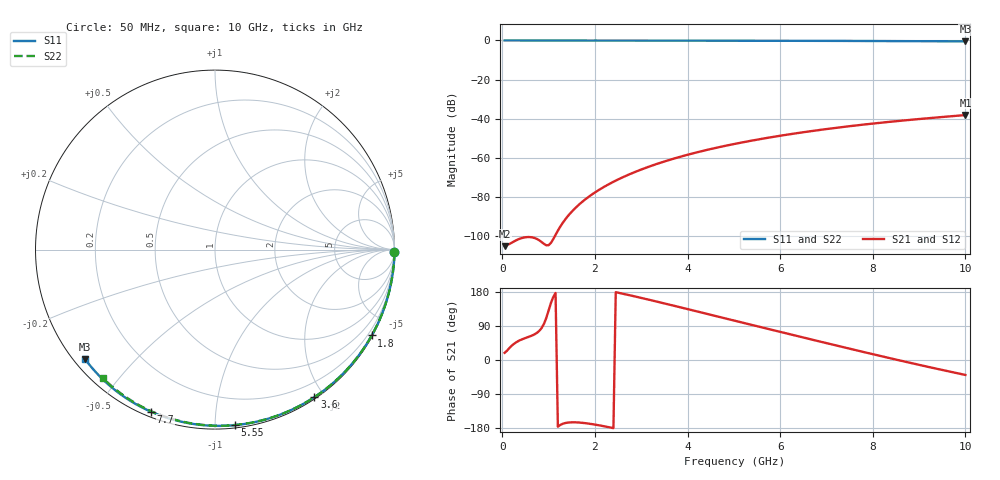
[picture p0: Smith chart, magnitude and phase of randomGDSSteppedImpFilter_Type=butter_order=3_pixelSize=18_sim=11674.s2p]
! freq	dB(S11)	phase(S11)	dB(S12)	phase(S12)
!  dB(S21)	phase(S21)	dB(S22)	phase(S22)
!S-par simulation data
#  GHz  S  DB  R 50
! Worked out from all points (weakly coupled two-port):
!   200 points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, 50 MHz to 10 GHz, reference 50 ohm
!   highest |S21| = -38.06 dB at 10 GHz (marker M1); lowest = -104.9 dB at 50 MHz (marker M2)
!   lowest |S11| = -0.5 dB at 10 GHz (marker M3), VSWR 36.43, Z = 1.55 - j18.2 ohm
!   |S11| at or under -10 dB: nowhere
!   |S22| runs from -0.4 to 0.0 dB; largest |S21 - S12| = 0
!   S11 on the Smith chart (normalised r, x): 50 MHz: open; 1.8 GHz: 0.03, -3.91; 3.6 GHz: 0.02, -1.88; 5.55 GHz: 0.02, -1.12; 7.7 GHz: 0.02, -0.68; 10 GHz: 0.03, -0.36
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0.05  -0.00 -0.8  -104.95 18.9  -104.95 18.9  -0.00 -0.8
0.45  -0.01 -7.3  -100.62 55.7  -100.62 55.7  -0.01 -6.8
0.9  -0.02 -14.5  -103.79 95.4  -103.79 95.4  -0.02 -13.5
1.75  -0.04 -27.9  -81.86 -166.1  -81.86 -166.1  -0.03 -26.1
1.8  -0.04 -28.7  -80.92 -166.8  -80.92 -166.8  -0.03 -26.8
1.85  -0.04 -29.5  -80.03 -167.6  -80.03 -167.6  -0.04 -27.6
2.15  -0.04 -34.2  -75.34 -173.7  -75.34 -173.7  -0.04 -31.9
2.35  -0.05 -37.2  -72.70 -178.5  -72.70 -178.5  -0.04 -34.8
2.55  -0.05 -40.3  -70.35 176.3  -70.35 176.3  -0.05 -37.7
2.95  -0.06 -46.4  -66.30 165.3  -66.30 165.3  -0.06 -43.4
3.4  -0.07 -53.1  -62.50 152.3  -62.50 152.3  -0.07 -49.7
3.6  -0.08 -56.1  -61.01 146.4  -61.01 146.4  -0.07 -52.5
3.9  -0.08 -60.5  -58.96 137.4  -58.96 137.4  -0.08 -56.6
4.3  -0.09 -66.2  -56.51 125.4  -56.51 125.4  -0.09 -62.0
5.05  -0.12 -76.8  -52.61 102.7  -52.61 102.7  -0.11 -72.0
5.55  -0.14 -83.6  -50.40 87.7  -50.40 87.7  -0.13 -78.4
6.1  -0.16 -91.0  -48.24 71.2  -48.24 71.2  -0.15 -85.3
6.7  -0.19 -98.9  -46.16 53.4  -46.16 53.4  -0.18 -92.7
7.7  -0.26 -111.6  -43.19 24.0  -43.19 24.0  -0.24 -104.7
8.35  -0.31 -119.7  -41.55 5.3  -41.55 5.3  -0.29 -112.3
9.2  -0.39 -130.2  -39.66 -18.3  -39.66 -18.3  -0.36 -122.0
10  -0.48 -140.0  -38.06 -39.4  -38.06 -39.4  -0.45 -131.0
